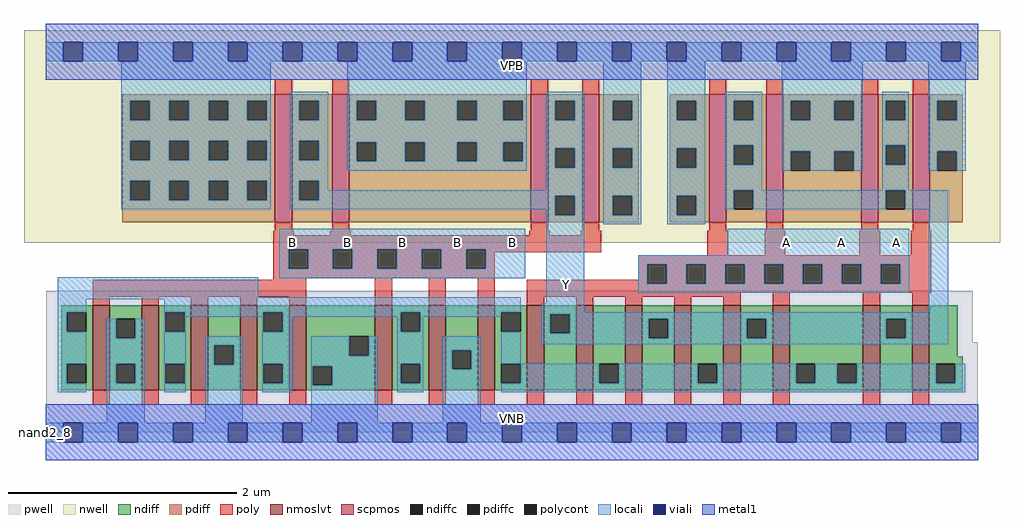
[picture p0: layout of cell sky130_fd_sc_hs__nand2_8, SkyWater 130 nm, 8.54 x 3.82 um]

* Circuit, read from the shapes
.subckt sky130_fd_sc_hs__nand2_8 A B VGND VNB VPB VPWR Y
XM1 VGND B n1 VNB sky130_fd_pr__nfet_01v8_lvt w=0.74 l=0.15 m=8
XM2 Y A n1 VNB sky130_fd_pr__nfet_01v8_lvt w=0.74 l=0.15 m=8
XM3 Y B VPWR VPB sky130_fd_pr__pfet_01v8 w=1.12 l=0.15 m=4
XM4 Y A VPWR VPB sky130_fd_pr__pfet_01v8 w=1.12 l=0.15 m=4
.ends

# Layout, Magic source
magic
tech sky130A
magscale 1 2
<< nwell >>
rect -38 332 1670 704
<< pwell >>
rect 1 158 1622 248
rect 1 49 1631 158
rect 0 0 1632 49
<< scpmos >>
rect 401 368 431 592
rect 501 368 531 592
rect 849 368 879 592
rect 939 368 969 592
rect 1161 368 1191 592
rect 1261 368 1291 592
rect 1427 368 1457 592
rect 1517 368 1547 592
<< nmoslvt >>
rect 82 74 112 222
rect 168 74 198 222
rect 254 74 284 222
rect 340 74 370 222
rect 426 74 456 222
rect 576 74 606 222
rect 670 74 700 222
rect 756 74 786 222
rect 842 74 872 222
rect 928 74 958 222
rect 1014 74 1044 222
rect 1100 74 1130 222
rect 1186 74 1216 222
rect 1272 74 1302 222
rect 1430 74 1460 222
rect 1516 74 1546 222
<< ndiff >>
rect 27 210 82 222
rect 27 176 37 210
rect 71 176 82 210
rect 27 120 82 176
rect 27 86 37 120
rect 71 86 82 120
rect 27 74 82 86
rect 112 199 168 222
rect 112 165 123 199
rect 157 165 168 199
rect 112 120 168 165
rect 112 86 123 120
rect 157 86 168 120
rect 112 74 168 86
rect 198 210 254 222
rect 198 176 209 210
rect 243 176 254 210
rect 198 120 254 176
rect 198 86 209 120
rect 243 86 254 120
rect 198 74 254 86
rect 284 152 340 222
rect 284 118 295 152
rect 329 118 340 152
rect 284 74 340 118
rect 370 210 426 222
rect 370 176 381 210
rect 415 176 426 210
rect 370 120 426 176
rect 370 86 381 120
rect 415 86 426 120
rect 370 74 426 86
rect 456 168 576 222
rect 456 134 531 168
rect 565 134 576 168
rect 456 116 576 134
rect 456 82 467 116
rect 501 82 576 116
rect 456 74 576 82
rect 606 210 670 222
rect 606 176 621 210
rect 655 176 670 210
rect 606 120 670 176
rect 606 86 621 120
rect 655 86 670 120
rect 606 74 670 86
rect 700 144 756 222
rect 700 110 711 144
rect 745 110 756 144
rect 700 74 756 110
rect 786 210 842 222
rect 786 176 797 210
rect 831 176 842 210
rect 786 120 842 176
rect 786 86 797 120
rect 831 86 842 120
rect 786 74 842 86
rect 872 207 928 222
rect 872 173 883 207
rect 917 173 928 207
rect 872 74 928 173
rect 958 120 1014 222
rect 958 86 969 120
rect 1003 86 1014 120
rect 958 74 1014 86
rect 1044 199 1100 222
rect 1044 165 1055 199
rect 1089 165 1100 199
rect 1044 74 1100 165
rect 1130 120 1186 222
rect 1130 86 1141 120
rect 1175 86 1186 120
rect 1130 74 1186 86
rect 1216 199 1272 222
rect 1216 165 1227 199
rect 1261 165 1272 199
rect 1216 74 1272 165
rect 1302 120 1430 222
rect 1302 86 1313 120
rect 1347 86 1385 120
rect 1419 86 1430 120
rect 1302 74 1430 86
rect 1460 199 1516 222
rect 1460 165 1471 199
rect 1505 165 1516 199
rect 1460 74 1516 165
rect 1546 132 1596 222
rect 1546 120 1605 132
rect 1546 86 1558 120
rect 1592 86 1605 120
rect 1546 74 1605 86
<< pdiff >>
rect 134 580 401 592
rect 134 546 148 580
rect 182 546 216 580
rect 250 546 285 580
rect 319 546 353 580
rect 387 546 401 580
rect 134 510 401 546
rect 134 476 148 510
rect 182 476 216 510
rect 250 476 285 510
rect 319 476 353 510
rect 387 476 401 510
rect 134 440 401 476
rect 134 406 148 440
rect 182 406 216 440
rect 250 406 285 440
rect 319 406 353 440
rect 387 406 401 440
rect 134 368 401 406
rect 431 580 501 592
rect 431 546 444 580
rect 478 546 501 580
rect 431 510 501 546
rect 431 476 444 510
rect 478 476 501 510
rect 431 440 501 476
rect 431 406 444 440
rect 478 406 501 440
rect 431 368 501 406
rect 531 580 849 592
rect 531 546 544 580
rect 578 546 629 580
rect 663 546 720 580
rect 754 546 801 580
rect 835 546 849 580
rect 531 508 849 546
rect 531 474 544 508
rect 578 474 629 508
rect 663 474 720 508
rect 754 474 801 508
rect 835 474 849 508
rect 531 368 849 474
rect 879 580 939 592
rect 879 546 892 580
rect 926 546 939 580
rect 879 497 939 546
rect 879 463 892 497
rect 926 463 939 497
rect 879 414 939 463
rect 879 380 892 414
rect 926 380 939 414
rect 879 368 939 380
rect 969 580 1038 592
rect 969 546 992 580
rect 1026 546 1038 580
rect 969 497 1038 546
rect 969 463 992 497
rect 1026 463 1038 497
rect 969 414 1038 463
rect 969 380 992 414
rect 1026 380 1038 414
rect 969 368 1038 380
rect 1092 580 1161 592
rect 1092 546 1104 580
rect 1138 546 1161 580
rect 1092 497 1161 546
rect 1092 463 1104 497
rect 1138 463 1161 497
rect 1092 414 1161 463
rect 1092 380 1104 414
rect 1138 380 1161 414
rect 1092 368 1161 380
rect 1191 580 1261 592
rect 1191 546 1204 580
rect 1238 546 1261 580
rect 1191 502 1261 546
rect 1191 468 1204 502
rect 1238 468 1261 502
rect 1191 424 1261 468
rect 1191 390 1204 424
rect 1238 390 1261 424
rect 1191 368 1261 390
rect 1291 580 1427 592
rect 1291 546 1304 580
rect 1338 546 1380 580
rect 1414 546 1427 580
rect 1291 492 1427 546
rect 1291 458 1304 492
rect 1338 458 1380 492
rect 1414 458 1427 492
rect 1291 368 1427 458
rect 1457 580 1517 592
rect 1457 546 1470 580
rect 1504 546 1517 580
rect 1457 502 1517 546
rect 1457 468 1470 502
rect 1504 468 1517 502
rect 1457 424 1517 468
rect 1457 390 1470 424
rect 1504 390 1517 424
rect 1457 368 1517 390
rect 1547 580 1605 592
rect 1547 546 1560 580
rect 1594 546 1605 580
rect 1547 492 1605 546
rect 1547 458 1560 492
rect 1594 458 1605 492
rect 1547 368 1605 458
<< ndiffc >>
rect 37 176 71 210
rect 37 86 71 120
rect 123 165 157 199
rect 123 86 157 120
rect 209 176 243 210
rect 209 86 243 120
rect 295 118 329 152
rect 381 176 415 210
rect 381 86 415 120
rect 531 134 565 168
rect 467 82 501 116
rect 621 176 655 210
rect 621 86 655 120
rect 711 110 745 144
rect 797 176 831 210
rect 797 86 831 120
rect 883 173 917 207
rect 969 86 1003 120
rect 1055 165 1089 199
rect 1141 86 1175 120
rect 1227 165 1261 199
rect 1313 86 1347 120
rect 1385 86 1419 120
rect 1471 165 1505 199
rect 1558 86 1592 120
<< pdiffc >>
rect 148 546 182 580
rect 216 546 250 580
rect 285 546 319 580
rect 353 546 387 580
rect 148 476 182 510
rect 216 476 250 510
rect 285 476 319 510
rect 353 476 387 510
rect 148 406 182 440
rect 216 406 250 440
rect 285 406 319 440
rect 353 406 387 440
rect 444 546 478 580
rect 444 476 478 510
rect 444 406 478 440
rect 544 546 578 580
rect 629 546 663 580
rect 720 546 754 580
rect 801 546 835 580
rect 544 474 578 508
rect 629 474 663 508
rect 720 474 754 508
rect 801 474 835 508
rect 892 546 926 580
rect 892 463 926 497
rect 892 380 926 414
rect 992 546 1026 580
rect 992 463 1026 497
rect 992 380 1026 414
rect 1104 546 1138 580
rect 1104 463 1138 497
rect 1104 380 1138 414
rect 1204 546 1238 580
rect 1204 468 1238 502
rect 1204 390 1238 424
rect 1304 546 1338 580
rect 1380 546 1414 580
rect 1304 458 1338 492
rect 1380 458 1414 492
rect 1470 546 1504 580
rect 1470 468 1504 502
rect 1470 390 1504 424
rect 1560 546 1594 580
rect 1560 458 1594 492
<< poly >>
rect 401 592 431 618
rect 501 592 531 618
rect 849 592 879 618
rect 939 592 969 618
rect 1161 592 1191 618
rect 1261 592 1291 618
rect 1427 592 1457 618
rect 1517 592 1547 618
rect 401 353 431 368
rect 501 353 531 368
rect 849 353 879 368
rect 939 353 969 368
rect 1161 353 1191 368
rect 1261 353 1291 368
rect 1427 353 1457 368
rect 1517 353 1547 368
rect 398 345 434 353
rect 498 345 534 353
rect 846 345 882 353
rect 936 345 972 353
rect 398 320 972 345
rect 398 286 425 320
rect 459 286 502 320
rect 536 286 580 320
rect 614 286 658 320
rect 692 286 736 320
rect 770 315 972 320
rect 770 286 786 315
rect 1158 310 1194 353
rect 1258 310 1294 353
rect 1424 310 1460 353
rect 1514 310 1550 353
rect 398 270 786 286
rect 398 267 456 270
rect 82 237 456 267
rect 82 222 112 237
rect 168 222 198 237
rect 254 222 284 237
rect 340 222 370 237
rect 426 222 456 237
rect 576 222 606 270
rect 670 222 700 270
rect 756 222 786 270
rect 1037 294 1550 310
rect 1037 267 1053 294
rect 842 260 1053 267
rect 1087 260 1121 294
rect 1155 260 1189 294
rect 1223 260 1257 294
rect 1291 260 1325 294
rect 1359 260 1393 294
rect 1427 260 1461 294
rect 1495 260 1550 294
rect 842 244 1550 260
rect 842 237 1216 244
rect 842 222 872 237
rect 928 222 958 237
rect 1014 222 1044 237
rect 1100 222 1130 237
rect 1186 222 1216 237
rect 1272 222 1302 244
rect 1430 222 1460 244
rect 1516 222 1546 244
rect 82 48 112 74
rect 168 48 198 74
rect 254 48 284 74
rect 340 48 370 74
rect 426 48 456 74
rect 576 48 606 74
rect 670 48 700 74
rect 756 48 786 74
rect 842 48 872 74
rect 928 48 958 74
rect 1014 48 1044 74
rect 1100 48 1130 74
rect 1186 48 1216 74
rect 1272 48 1302 74
rect 1430 48 1460 74
rect 1516 48 1546 74
<< polycont >>
rect 425 286 459 320
rect 502 286 536 320
rect 580 286 614 320
rect 658 286 692 320
rect 736 286 770 320
rect 1053 260 1087 294
rect 1121 260 1155 294
rect 1189 260 1223 294
rect 1257 260 1291 294
rect 1325 260 1359 294
rect 1393 260 1427 294
rect 1461 260 1495 294
<< locali >>
rect 0 649 31 683
rect 65 649 127 683
rect 161 649 223 683
rect 257 649 319 683
rect 353 649 415 683
rect 449 649 511 683
rect 545 649 607 683
rect 641 649 703 683
rect 737 649 799 683
rect 833 649 895 683
rect 929 649 991 683
rect 1025 649 1087 683
rect 1121 649 1183 683
rect 1217 649 1279 683
rect 1313 649 1375 683
rect 1409 649 1471 683
rect 1505 649 1567 683
rect 1601 649 1632 683
rect 132 580 394 649
rect 132 546 148 580
rect 182 546 216 580
rect 250 546 285 580
rect 319 546 353 580
rect 387 546 394 580
rect 132 510 394 546
rect 132 476 148 510
rect 182 476 216 510
rect 250 476 285 510
rect 319 476 353 510
rect 387 476 394 510
rect 132 440 394 476
rect 132 406 148 440
rect 182 406 216 440
rect 250 406 285 440
rect 319 406 353 440
rect 387 406 394 440
rect 132 390 394 406
rect 428 580 494 596
rect 428 546 444 580
rect 478 546 494 580
rect 428 510 494 546
rect 428 476 444 510
rect 478 476 494 510
rect 428 440 494 476
rect 528 580 842 649
rect 528 546 544 580
rect 578 546 629 580
rect 663 546 720 580
rect 754 546 801 580
rect 835 546 842 580
rect 528 508 842 546
rect 528 474 544 508
rect 578 474 629 508
rect 663 474 720 508
rect 754 474 801 508
rect 835 474 842 508
rect 528 458 842 474
rect 876 580 942 596
rect 876 546 892 580
rect 926 546 942 580
rect 876 497 942 546
rect 876 463 892 497
rect 926 463 942 497
rect 428 406 444 440
rect 478 424 494 440
rect 876 424 942 463
rect 478 414 942 424
rect 478 406 892 414
rect 428 390 892 406
rect 876 380 892 390
rect 926 380 942 414
rect 409 320 839 356
rect 409 286 425 320
rect 459 286 502 320
rect 536 286 580 320
rect 614 286 658 320
rect 692 286 736 320
rect 770 286 839 320
rect 21 236 372 271
rect 409 270 839 286
rect 21 233 831 236
rect 21 210 71 233
rect 21 176 37 210
rect 207 210 831 233
rect 876 226 942 380
rect 976 580 1042 649
rect 976 546 992 580
rect 1026 546 1042 580
rect 976 497 1042 546
rect 976 463 992 497
rect 1026 463 1042 497
rect 976 414 1042 463
rect 976 380 992 414
rect 1026 380 1042 414
rect 976 364 1042 380
rect 1088 580 1154 649
rect 1088 546 1104 580
rect 1138 546 1154 580
rect 1088 497 1154 546
rect 1088 463 1104 497
rect 1138 463 1154 497
rect 1088 414 1154 463
rect 1088 380 1104 414
rect 1138 380 1154 414
rect 1188 580 1254 596
rect 1188 546 1204 580
rect 1238 546 1254 580
rect 1188 502 1254 546
rect 1188 468 1204 502
rect 1238 468 1254 502
rect 1188 424 1254 468
rect 1288 580 1430 649
rect 1288 546 1304 580
rect 1338 546 1380 580
rect 1414 546 1430 580
rect 1288 492 1430 546
rect 1288 458 1304 492
rect 1338 458 1380 492
rect 1414 458 1430 492
rect 1464 580 1510 596
rect 1464 546 1470 580
rect 1504 546 1510 580
rect 1464 502 1510 546
rect 1464 468 1470 502
rect 1504 468 1510 502
rect 1464 424 1510 468
rect 1544 580 1610 649
rect 1544 546 1560 580
rect 1594 546 1610 580
rect 1544 492 1610 546
rect 1544 458 1560 492
rect 1594 458 1610 492
rect 1188 390 1204 424
rect 1238 390 1470 424
rect 1504 390 1579 424
rect 1088 364 1154 380
rect 1193 310 1511 356
rect 1037 294 1511 310
rect 1037 260 1053 294
rect 1087 260 1121 294
rect 1155 260 1189 294
rect 1223 260 1257 294
rect 1291 260 1325 294
rect 1359 260 1393 294
rect 1427 260 1461 294
rect 1495 260 1511 294
rect 1037 244 1511 260
rect 21 120 71 176
rect 21 86 37 120
rect 21 70 71 86
rect 107 165 123 199
rect 157 165 173 199
rect 107 120 173 165
rect 107 86 123 120
rect 157 86 173 120
rect 107 17 173 86
rect 207 176 209 210
rect 243 202 381 210
rect 243 176 245 202
rect 207 120 245 176
rect 379 176 381 202
rect 415 202 621 210
rect 415 176 431 202
rect 207 86 209 120
rect 243 86 245 120
rect 207 70 245 86
rect 279 152 345 168
rect 279 118 295 152
rect 329 118 345 152
rect 279 17 345 118
rect 379 120 431 176
rect 615 176 621 202
rect 655 202 797 210
rect 655 176 661 202
rect 379 86 381 120
rect 415 86 431 120
rect 379 70 431 86
rect 465 134 531 168
rect 565 134 581 168
rect 465 116 581 134
rect 465 82 467 116
rect 501 82 581 116
rect 465 17 581 82
rect 615 120 661 176
rect 615 86 621 120
rect 655 86 661 120
rect 615 70 661 86
rect 695 144 761 168
rect 695 110 711 144
rect 745 110 761 144
rect 695 17 761 110
rect 797 120 831 176
rect 867 210 942 226
rect 1545 210 1579 390
rect 867 207 1579 210
rect 867 173 883 207
rect 917 199 1579 207
rect 917 173 1055 199
rect 867 165 1055 173
rect 1089 165 1227 199
rect 1261 165 1471 199
rect 1505 165 1579 199
rect 867 154 1579 165
rect 831 86 969 120
rect 1003 86 1141 120
rect 1175 86 1313 120
rect 1347 86 1385 120
rect 1419 86 1558 120
rect 1592 86 1609 120
rect 797 70 1609 86
rect 0 -17 31 17
rect 65 -17 127 17
rect 161 -17 223 17
rect 257 -17 319 17
rect 353 -17 415 17
rect 449 -17 511 17
rect 545 -17 607 17
rect 641 -17 703 17
rect 737 -17 799 17
rect 833 -17 895 17
rect 929 -17 991 17
rect 1025 -17 1087 17
rect 1121 -17 1183 17
rect 1217 -17 1279 17
rect 1313 -17 1375 17
rect 1409 -17 1471 17
rect 1505 -17 1567 17
rect 1601 -17 1632 17
<< viali >>
rect 31 649 65 683
rect 127 649 161 683
rect 223 649 257 683
rect 319 649 353 683
rect 415 649 449 683
rect 511 649 545 683
rect 607 649 641 683
rect 703 649 737 683
rect 799 649 833 683
rect 895 649 929 683
rect 991 649 1025 683
rect 1087 649 1121 683
rect 1183 649 1217 683
rect 1279 649 1313 683
rect 1375 649 1409 683
rect 1471 649 1505 683
rect 1567 649 1601 683
rect 31 -17 65 17
rect 127 -17 161 17
rect 223 -17 257 17
rect 319 -17 353 17
rect 415 -17 449 17
rect 511 -17 545 17
rect 607 -17 641 17
rect 703 -17 737 17
rect 799 -17 833 17
rect 895 -17 929 17
rect 991 -17 1025 17
rect 1087 -17 1121 17
rect 1183 -17 1217 17
rect 1279 -17 1313 17
rect 1375 -17 1409 17
rect 1471 -17 1505 17
rect 1567 -17 1601 17
<< metal1 >>
rect 0 683 1632 715
rect 0 649 31 683
rect 65 649 127 683
rect 161 649 223 683
rect 257 649 319 683
rect 353 649 415 683
rect 449 649 511 683
rect 545 649 607 683
rect 641 649 703 683
rect 737 649 799 683
rect 833 649 895 683
rect 929 649 991 683
rect 1025 649 1087 683
rect 1121 649 1183 683
rect 1217 649 1279 683
rect 1313 649 1375 683
rect 1409 649 1471 683
rect 1505 649 1567 683
rect 1601 649 1632 683
rect 0 617 1632 649
rect 0 17 1632 49
rect 0 -17 31 17
rect 65 -17 127 17
rect 161 -17 223 17
rect 257 -17 319 17
rect 353 -17 415 17
rect 449 -17 511 17
rect 545 -17 607 17
rect 641 -17 703 17
rect 737 -17 799 17
rect 833 -17 895 17
rect 929 -17 991 17
rect 1025 -17 1087 17
rect 1121 -17 1183 17
rect 1217 -17 1279 17
rect 1313 -17 1375 17
rect 1409 -17 1471 17
rect 1505 -17 1567 17
rect 1601 -17 1632 17
rect 0 -49 1632 -17
<< labels >>
rlabel comment s 0 0 0 0 4 nand2_8
flabel pwell s 0 0 1632 49 0 FreeSans 200 0 0 0 VNB
port 4 nsew ground bidirectional
flabel nwell s 0 617 1632 666 0 FreeSans 200 0 0 0 VPB
port 5 nsew power bidirectional
flabel metal1 s 0 617 1632 666 0 FreeSans 340 0 0 0 VPWR
port 6 nsew power bidirectional
flabel metal1 s 0 0 1632 49 0 FreeSans 340 0 0 0 VGND
port 3 nsew ground bidirectional
flabel locali s 415 316 449 350 0 FreeSans 340 0 0 0 B
port 2 nsew signal input
flabel locali s 511 316 545 350 0 FreeSans 340 0 0 0 B
port 2 nsew signal input
flabel locali s 607 316 641 350 0 FreeSans 340 0 0 0 B
port 2 nsew signal input
flabel locali s 703 316 737 350 0 FreeSans 340 0 0 0 B
port 2 nsew signal input
flabel locali s 799 316 833 350 0 FreeSans 340 0 0 0 B
port 2 nsew signal input
flabel locali s 1279 316 1313 350 0 FreeSans 340 0 0 0 A
port 1 nsew signal input
flabel locali s 1375 316 1409 350 0 FreeSans 340 0 0 0 A
port 1 nsew signal input
flabel locali s 1471 316 1505 350 0 FreeSans 340 0 0 0 A
port 1 nsew signal input
flabel locali s 895 242 929 276 0 FreeSans 340 0 0 0 Y
port 7 nsew signal output
<< properties >>
string LEFsite unit
string LEFclass CORE
string FIXED_BBOX 0 0 1632 666
string GDS_FILE $PDKPATH/libs.ref/sky130_fd_sc_hs/gds/sky130_fd_sc_hs.gds
string LEFsymmetry X Y
string GDS_END 3813298
string GDS_START 3801206
<< end >>
